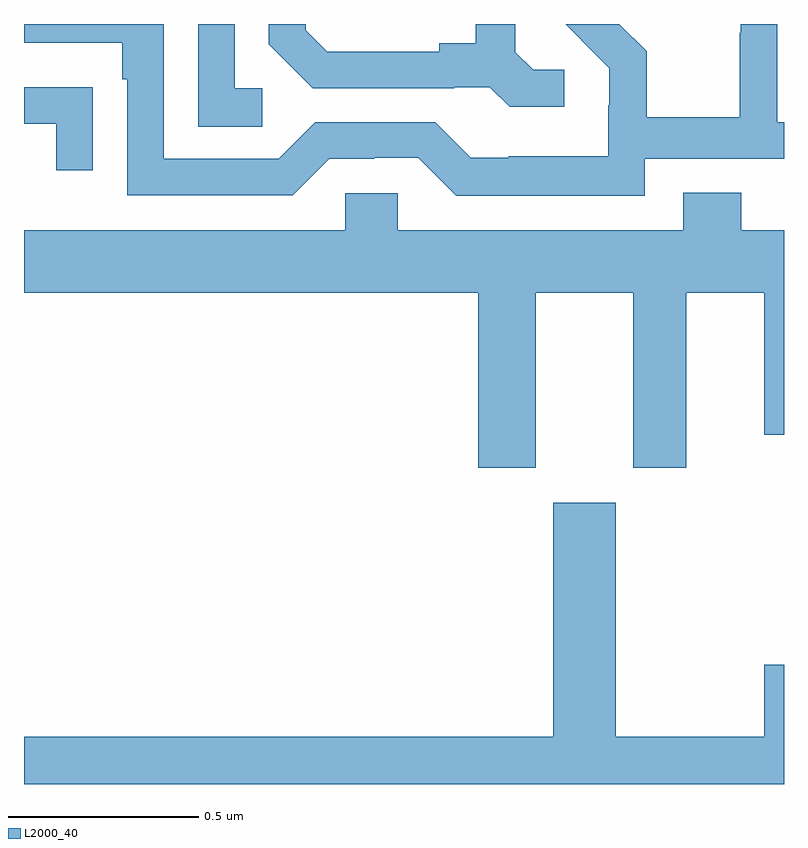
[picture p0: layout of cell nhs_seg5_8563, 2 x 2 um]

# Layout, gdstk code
import gdstk
lib = gdstk.Library(unit=1e-6, precision=1e-09)
def P(c, l, *ps):  # polygons
    for p in ps: c.add(gdstk.Polygon(p, *l))
L2000_40 = (2000, 40)

nhs_seg5_8563 = lib.new_cell('nhs_seg5_8563')
P(nhs_seg5_8563, L2000_40, [(224.634,858.444),(225,858.444),(225,858.54),(224.982,858.54),(224.982,858.799),(224.886,858.799),(224.886,858.776),(224.884,858.776),(224.884,858.553),(224.639,858.553),(224.639,858.727),(224.567,858.799),(224.425,858.799),(224.467,858.757),(224.466,858.756),(224.54,858.682),(224.54,858.585),(224.538,858.585),(224.538,858.451),(224.275,858.451),(224.275,858.447),(224.175,858.447),(224.082,858.54),(223.767,858.54),(223.671,858.444),(223.368,858.444),(223.368,858.799),(223,858.799),(223,858.75),(223.259,858.75),(223.259,858.653),(223.272,858.653),(223.272,858.348),(223.707,858.348),(223.803,858.444),(223.922,858.444),(223.922,858.447),(224.037,858.447),(224.137,858.347),(224.634,858.347)],
  [(224.422,858.678),(224.34,858.678),(224.293,858.725),(224.293,858.799),(224.189,858.799),(224.189,858.749),(224.093,858.749),(224.093,858.726),(223.798,858.726),(223.741,858.783),(223.741,858.799),(223.644,858.799),(223.644,858.746),(223.76,858.63),(224.132,858.63),(224.132,858.633),(224.226,858.633),(224.278,858.581),(224.422,858.581)],
  [(223.627,858.63),(223.554,858.63),(223.554,858.799),(223.458,858.799),(223.458,858.529),(223.627,858.529)],
  [(223.181,858.632),(223.079,858.632),(223.079,858.633),(223,858.633),(223,858.537),(223.085,858.537),(223.085,858.414),(223.181,858.414)],
  [(224.347,858.092),(224.603,858.092),(224.603,857.631),(224.743,857.631),(224.743,858.092),(224.948,858.092),(224.948,857.718),(225,857.718),(225,858.256),(224.888,858.256),(224.888,858.355),(224.735,858.355),(224.735,858.256),(223.983,858.256),(223.983,858.354),(223.845,858.354),(223.845,858.256),(223,858.256),(223,858.092),(224.195,858.092),(224.195,857.631),(224.347,857.631)],
  [(225,857.113),(224.948,857.113),(224.948,856.924),(224.557,856.924),(224.557,857.539),(224.393,857.539),(224.393,856.924),(223,856.924),(223,856.799),(225,856.799)])

lib.write_gds('nhs_seg5_8563.gds')
